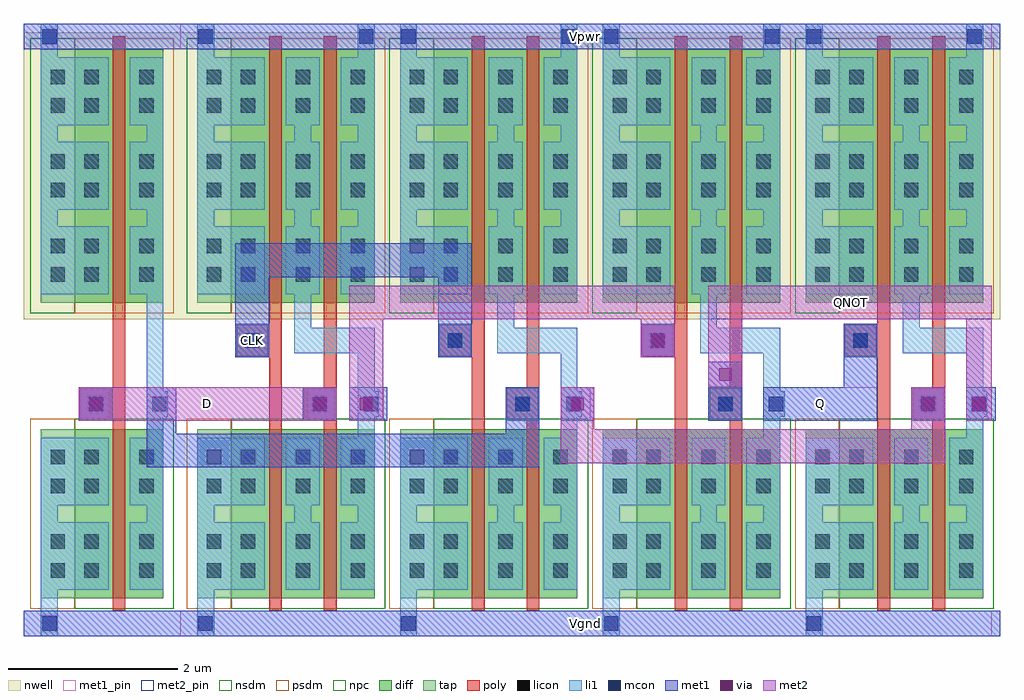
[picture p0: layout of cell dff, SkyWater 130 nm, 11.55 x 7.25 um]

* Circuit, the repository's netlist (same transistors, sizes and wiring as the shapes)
* NGSPICE file created from dff.ext - technology: sky130A

.subckt nand A OUT Vpwr Vgnd B
X0 OUT A Vpwr Vpwr sky130_fd_pr__pfet_01v8 ad=0.75 pd=3.5 as=1.35 ps=6.9 w=3 l=0.15
X1 OUT B a_30_n300# Vgnd sky130_fd_pr__nfet_01v8 ad=0.9 pd=4.9 as=0.5 ps=2.5 w=2 l=0.15
X2 Vpwr B OUT Vpwr sky130_fd_pr__pfet_01v8 ad=1.35 pd=6.9 as=0.75 ps=3.5 w=3 l=0.15
X3 a_30_n300# A Vgnd Vgnd sky130_fd_pr__nfet_01v8 ad=0.5 pd=2.5 as=0.9 ps=4.9 w=2 l=0.15
.ends

.subckt inverter IN OUT Vpwr Vgnd
X0 OUT IN Vpwr Vpwr sky130_fd_pr__pfet_01v8 ad=1.35 pd=6.9 as=1.35 ps=6.9 w=3 l=0.15
X1 OUT IN Vgnd Vgnd sky130_fd_pr__nfet_01v8 ad=0.9 pd=4.9 as=0.9 ps=4.9 w=2 l=0.15
.ends

.subckt dff CLK QNOT Vpwr Vgnd D Q
Xnand_3 Q QNOT Vpwr Vgnd nand_3/B nand
Xinverter_0 D nand_1/B Vpwr Vgnd inverter
Xnand_0 CLK nand_2/A Vpwr Vgnd D nand
Xnand_1 CLK nand_3/B Vpwr Vgnd nand_1/B nand
Xnand_2 nand_2/A Q Vpwr Vgnd QNOT nand
.ends

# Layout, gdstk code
import gdstk
lib = gdstk.Library(unit=1e-6, precision=1e-09)
def R(c, l, rs):  # rectangles x0, y0, x1, y1
    for r in rs: c.add(gdstk.rectangle(r[:2], r[2:], *l))
def A(c, l, x, y, w, h, nx, ny, dx, dy):  # array of equal rectangles
    R(c, l, [(x+i*dx, y+j*dy, x+i*dx+w, y+j*dy+h) for i in range(nx) for j in range(ny)])
nwell = (64, 20)
diff = (65, 20)
tap = (65, 44)
poly = (66, 20)
licon = (66, 44)
li1 = (67, 20)
mcon = (67, 44)
met1_pin = (68, 16)
met1 = (68, 20)
via = (68, 44)
met2_pin = (69, 16)
met2 = (69, 20)
nsdm = (93, 44)
psdm = (94, 20)
npc = (95, 20)

nand = lib.new_cell('nand')
R(nand, nwell, [(-1.05,1.8,1.45,5.2)])
R(nand, diff, [(-0.45,-1.5,1.25,0.5), (-0.45,2,1.25,5)])
R(nand, tap, [(-0.85,-1.5,-0.45,0.5), (-0.85,2,-0.45,5)])
R(nand, poly, [(0,-1.65,0.15,1.35), (0.65,-1.65,0.8,0.6), (0.4,0.6,0.8,1), (0.65,1,0.8,5.15), (-0.4,1.35,0.15,1.75), (0,1.75,0.15,5.15)])
A(nand, licon, -0.335, -1.255, 0.17, 0.17, 3, 2, 0.65, 0.34)
A(nand, licon, -0.335, -0.255, 0.17, 0.17, 3, 2, 0.65, 0.34)
A(nand, licon, -0.335, 2.245, 0.17, 0.17, 3, 2, 0.65, 0.34)
A(nand, licon, -0.335, 3.245, 0.17, 0.17, 3, 2, 0.65, 0.34)
A(nand, licon, -0.335, 4.245, 0.17, 0.17, 3, 2, 0.65, 0.34)
R(nand, licon, [(-0.735,-1.255,-0.565,-1.085), (-0.735,-0.915,-0.565,-0.745), (-0.735,-0.255,-0.565,-0.085), (-0.735,0.085,-0.565,0.255), (0.515,0.715,0.685,0.885), (-0.285,1.465,-0.115,1.635), (-0.735,2.245,-0.565,2.415), (-0.735,2.585,-0.565,2.755), (-0.735,3.245,-0.565,3.415), (-0.735,3.585,-0.565,3.755), (-0.735,4.245,-0.565,4.415), (-0.735,4.585,-0.565,4.755)])
A(nand, li1, -0.85, 2.1, 0.8, 0.8, 1, 3, 0, 1)
A(nand, li1, 0.2, 2.1, 0.4, 0.8, 1, 3, 0, 1)
A(nand, li1, 0.85, 2.1, 0.4, 0.8, 1, 3, 0, 1)
R(nand, li1, [(-0.85,-1.95,-0.65,-1.4), (-0.85,-1.4,-0.05,-0.6), (0.2,-1.4,0.6,-0.6), (0.85,-1.4,1.25,-0.6), (-0.85,-0.6,-0.65,-0.4), (0.3,-0.6,0.5,-0.4), (1.05,-0.6,1.25,-0.4), (-0.85,-0.4,-0.05,0.4), (0.2,-0.4,0.6,0.4), (0.85,-0.4,1.25,0.4), (1.05,0.4,1.25,0.65), (0.4,0.6,0.8,1), (1.05,0.65,1.3,0.95), (1.05,0.95,1.25,1.4), (-0.4,1.35,0,1.75), (0.3,1.4,1.25,1.7), (0.3,1.7,0.5,2.1), (-0.85,2.9,-0.65,3.1), (0.3,2.9,0.5,3.1), (1.05,2.9,1.25,3.1), (-0.85,3.9,-0.65,4.1), (0.3,3.9,0.5,4.1), (1.05,3.9,1.25,4.1), (-0.85,4.9,-0.65,5.3), (1.05,4.9,1.25,5.3)])
R(nand, mcon, [(-0.835,-1.885,-0.665,-1.715), (0.515,0.715,0.685,0.885), (1.115,0.715,1.285,0.885), (-0.285,1.465,-0.115,1.635), (-0.835,5.065,-0.665,5.235), (1.065,5.065,1.235,5.235)])
R(nand, met1_pin, [(-0.85,-1.9,-0.65,-1.7), (0.4,0.6,0.8,1), (1.05,0.6,1.4,1), (-0.4,1.35,0,1.75), (-0.85,5.05,-0.65,5.25)])
R(nand, met1, [(-1.05,-1.95,1.45,-1.65), (0.4,0.6,0.8,1), (1.05,0.6,1.4,1), (-0.4,1.35,0,1.75), (-1.05,5,1.45,5.3)])
R(nand, nsdm, [(-0.45,-1.625,1.375,0.625), (-0.975,1.875,-0.45,5.125)])
R(nand, psdm, [(-0.975,-1.625,-0.45,0.625), (-0.45,1.875,1.375,5.125)])
R(nand, npc, [(0.415,0.615,0.785,0.985), (-0.385,1.365,-0.015,1.735)])
nand.add(gdstk.Label('A', (-0.2,1.55), layer=68, texttype=5))
nand.add(gdstk.Label('OUT', (1.225,0.8), layer=68, texttype=5))
nand.add(gdstk.Label('Vpwr', (-0.75,5.15), layer=68, texttype=5))
nand.add(gdstk.Label('Vgnd', (-0.75,-1.8), layer=68, texttype=5))
nand.add(gdstk.Label('B', (0.6,0.8), layer=68, texttype=5))

inverter = lib.new_cell('inverter')
R(inverter, nwell, [(-1.05,1.8,0.8,5.2)])
R(inverter, diff, [(-0.45,-1.5,0.6,0.5), (-0.45,2,0.6,5)])
R(inverter, tap, [(-0.85,-1.5,-0.45,0.5), (-0.85,2,-0.45,5)])
R(inverter, poly, [(0,-1.65,0.15,0.6), (-0.4,0.6,0.15,1), (0,1,0.15,5.15)])
R(inverter, licon, [(-0.735,-1.255,-0.565,-1.085), (-0.335,-1.255,-0.165,-1.085), (0.315,-1.255,0.485,-1.085), (-0.735,-0.915,-0.565,-0.745), (-0.335,-0.915,-0.165,-0.745), (0.315,-0.915,0.485,-0.745), (-0.735,-0.255,-0.565,-0.085), (-0.335,-0.255,-0.165,-0.085), (0.315,-0.255,0.485,-0.085), (-0.735,0.085,-0.565,0.255), (-0.335,0.085,-0.165,0.255), (0.315,0.085,0.485,0.255), (-0.285,0.715,-0.115,0.885), (-0.735,2.245,-0.565,2.415), (-0.335,2.245,-0.165,2.415), (0.315,2.245,0.485,2.415), (-0.735,2.585,-0.565,2.755), (-0.335,2.585,-0.165,2.755), (0.315,2.585,0.485,2.755), (-0.735,3.245,-0.565,3.415), (-0.335,3.245,-0.165,3.415), (0.315,3.245,0.485,3.415), (-0.735,3.585,-0.565,3.755), (-0.335,3.585,-0.165,3.755), (0.315,3.585,0.485,3.755), (-0.735,4.245,-0.565,4.415), (-0.335,4.245,-0.165,4.415), (0.315,4.245,0.485,4.415), (-0.735,4.585,-0.565,4.755), (-0.335,4.585,-0.165,4.755), (0.315,4.585,0.485,4.755)])
A(inverter, li1, -0.85, 2.1, 0.8, 0.8, 1, 3, 0, 1)
A(inverter, li1, 0.2, 2.1, 0.4, 0.8, 1, 3, 0, 1)
R(inverter, li1, [(-0.85,-1.95,-0.65,-1.4), (-0.85,-1.4,-0.05,-0.6), (0.2,-1.4,0.6,-0.6), (-0.85,-0.6,-0.65,-0.4), (0.4,-0.6,0.6,-0.4), (-0.85,-0.4,-0.05,0.4), (0.2,-0.4,0.6,0.4), (0.4,0.4,0.6,0.65), (-0.4,0.6,0,1), (0.4,0.65,0.65,0.95), (0.4,0.95,0.6,2.1), (-0.85,2.9,-0.65,3.1), (0.4,2.9,0.6,3.1), (-0.85,3.9,-0.65,4.1), (0.4,3.9,0.6,4.1), (-0.85,4.9,-0.65,5.3)])
R(inverter, mcon, [(-0.835,-1.885,-0.665,-1.715), (-0.285,0.715,-0.115,0.885), (0.465,0.715,0.635,0.885), (-0.835,5.065,-0.665,5.235)])
R(inverter, met1_pin, [(-0.85,-1.9,-0.65,-1.7), (0.4,0.6,0.75,1), (-0.3,0.7,-0.1,0.9), (-0.85,5.05,-0.65,5.25)])
R(inverter, met1, [(-1.05,-1.95,0.8,-1.65), (-0.4,0.6,0,1), (0.4,0.6,0.75,1), (-1.05,5,0.8,5.3)])
R(inverter, nsdm, [(-0.45,-1.625,0.725,0.625), (-0.975,1.875,-0.45,5.125)])
R(inverter, psdm, [(-0.975,-1.625,-0.45,0.625), (-0.45,1.875,0.725,5.125)])
R(inverter, npc, [(-0.385,0.615,-0.015,0.985)])
inverter.add(gdstk.Label('IN', (-0.2,0.8), layer=68, texttype=5))
inverter.add(gdstk.Label('OUT', (0.575,0.8), layer=68, texttype=5))
inverter.add(gdstk.Label('Vpwr', (-0.75,5.15), layer=68, texttype=5))
inverter.add(gdstk.Label('Vgnd', (-0.75,-1.8), layer=68, texttype=5))

dff = lib.new_cell('dff')
R(dff, nwell, [(8.35,1.55,8.45,4.95)])
R(dff, met1_pin, [(-1.25,-2.2,8.35,-1.9), (5.65,0.35,7,0.75), (-0.6,1.1,-0.2,1.5), (-1.25,4.75,8.35,5.05)])
R(dff, met1, [(-1.25,-2.2,8.35,-1.9), (-1.65,-0.2,3,0.2), (-1.65,0.2,-1.3,0.75), (2.6,0.2,3,0.75), (-2.45,0.35,-2.05,0.75), (0.2,0.35,0.6,0.75), (0.75,0.35,1.15,0.75), (3.25,0.35,3.65,0.75), (5,0.35,5.4,1.05), (5.65,0.35,7,0.75), (7.45,0.4,7.75,0.7), (8.05,0.4,8.35,0.7), (6.6,0.75,7,1.5), (-0.6,1.1,-0.2,2.05), (1.8,1.1,2.2,2.05), (4.25,1.15,4.55,1.45), (-0.6,2.05,2.2,2.45), (-1.25,4.75,8.35,5.05)])
R(dff, via, [(-2.325,0.475,-2.175,0.625), (0.325,0.475,0.475,0.625), (0.875,0.475,1.025,0.625), (3.375,0.475,3.525,0.625), (7.525,0.475,7.675,0.625), (8.125,0.475,8.275,0.625), (5.125,0.825,5.275,0.975), (4.325,1.225,4.475,1.375)])
R(dff, met2_pin, [(-2.1,0.35,0.25,0.75), (5,1.55,8.35,1.95)])
R(dff, met2, [(3.25,-0.15,7.8,0.25), (3.25,0.25,3.65,0.75), (7.4,0.25,7.8,0.75), (-2.45,0.35,0.6,0.75), (0.75,0.35,1.15,1.55), (8.05,0.35,8.35,1.55), (5,0.75,5.4,1.55), (4.2,1.1,4.6,1.55), (0.75,1.55,4.6,1.95), (5,1.55,8.35,1.95)])
dff.add(gdstk.Reference(nand, (7,-0.25)))
dff.add(gdstk.Reference(nand, (4.6,-0.25)))
dff.add(gdstk.Reference(nand, (2.2,-0.25)))
dff.add(gdstk.Reference(nand, (-0.2,-0.25)))
dff.add(gdstk.Reference(inverter, (-2.05,-0.25)))
dff.add(gdstk.Label('CLK', (-0.4,1.3), layer=68, texttype=5))
dff.add(gdstk.Label('QNOT', (6.675,1.75), layer=69, texttype=5))
dff.add(gdstk.Label('Vpwr', (3.55,4.9), layer=68, texttype=5))
dff.add(gdstk.Label('Vgnd', (3.55,-2.05), layer=68, texttype=5))
dff.add(gdstk.Label('D', (-0.925,0.55), layer=69, texttype=5))
dff.add(gdstk.Label('Q', (6.325,0.55), layer=68, texttype=5))

lib.write_gds('dff.gds')
